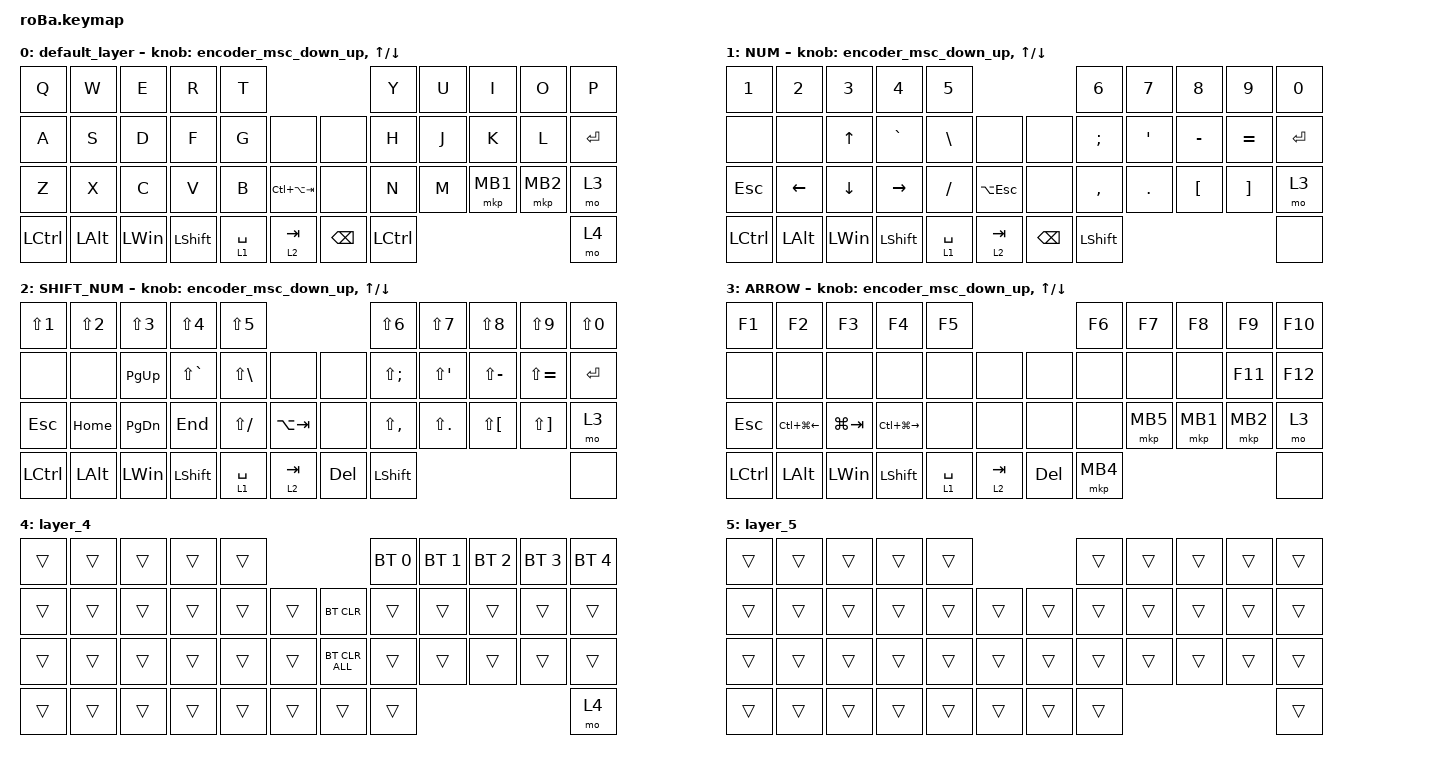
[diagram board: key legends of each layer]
#include <behaviors.dtsi>
#include <dt-bindings/zmk/bt.h>
#include <dt-bindings/zmk/keys.h>
#include <dt-bindings/zmk/pointing.h>

#define ZMK_POINTING_DEFAULT_SCRL_VAL 80

&mt {
    flavor = "balanced";
    quick-tap-ms = <0>;
};

&trackball { scroll-layers = <3>; };

/ {
    combos { compatible = "zmk,combos"; };

    behaviors {
        encoder_msc_down_up: encoder_msc_down_up {
            compatible = "zmk,behavior-sensor-rotate";
            label = "ENCODER_MSC_DOWN_UP";
            #sensor-binding-cells = <0>;
            bindings = <&msc SCRL_DOWN>, <&msc SCRL_UP>;

            tap-ms = <20>;
        };
    };

    keymap {
        compatible = "zmk,keymap";

        default_layer {
            bindings = <
&kp Q      &kp W         &kp E         &kp R           &kp T                                            &kp Y      &kp U  &kp I     &kp O     &kp P
&kp A      &kp S         &kp D         &kp F           &kp G        &none                &none          &kp H      &kp J  &kp K     &kp L     &kp ENTER
&kp Z      &kp X         &kp C         &kp V           &kp B        &kp LC(LA(TAB))      &none          &kp N      &kp M  &mkp MB1  &mkp MB2  &mo 3
&kp LCTRL  &kp LEFT_ALT  &kp LEFT_WIN  &kp LEFT_SHIFT  &lt 1 SPACE  &lt 2 TAB            &kp BACKSPACE  &kp LCTRL                             &mo 4
            >;

            sensor-bindings =
                <&encoder_msc_down_up>,
                <&inc_dec_kp UP_ARROW DOWN_ARROW>;
        };

        NUM {
            bindings = <
&kp N1      &kp N2        &kp N3        &kp N4          &kp N5                                         &kp N6      &kp N7   &kp N8     &kp N9     &kp N0
&none       &none         &kp UP        &kp GRAVE       &kp BACKSLASH  &none            &none          &kp SEMI    &kp SQT  &kp MINUS  &kp EQUAL  &kp ENTER
&kp ESCAPE  &kp LEFT      &kp DOWN      &kp RIGHT       &kp SLASH      &kp LA(ESC)      &none          &kp COMMA   &kp DOT  &kp LBKT   &kp RBKT   &mo 3
&kp LCTRL   &kp LEFT_ALT  &kp LEFT_WIN  &kp LEFT_SHIFT  &lt 1 SPACE    &lt 2 TAB        &kp BACKSPACE  &kp LSHIFT                                 &none
            >;

            sensor-bindings =
                <&encoder_msc_down_up>,
                <&inc_dec_kp UP_ARROW DOWN_ARROW>;
        };

        SHIFT_NUM {
            bindings = <
&kp LS(N1)  &kp LS(N2)    &kp LS(N3)     &kp LS(N4)      &kp LS(N5)                                   &kp LS(N6)     &kp LS(N7)   &kp LS(N8)     &kp LS(N9)     &kp LS(N0)
&none       &none         &kp PAGE_UP    &kp LS(GRAVE)   &kp LS(BACKSLASH)  &none            &none    &kp LS(SEMI)   &kp LS(SQT)  &kp LS(MINUS)  &kp LS(EQUAL)  &kp ENTER
&kp ESC     &kp HOME      &kp PAGE_DOWN  &kp END         &kp LS(SLASH)      &kp LA(TAB)      &none    &kp LS(COMMA)  &kp LS(DOT)  &kp LS(LBKT)   &kp LS(RBKT)   &mo 3
&kp LCTRL   &kp LEFT_ALT  &kp LEFT_WIN   &kp LEFT_SHIFT  &lt 1 SPACE        &lt 2 TAB        &kp DEL  &kp LSHIFT                                                &none
            >;

            sensor-bindings =
                <&encoder_msc_down_up>,
                <&inc_dec_kp UP_ARROW DOWN_ARROW>;
        };

        ARROW {
            bindings = <
&kp F1     &kp F2                  &kp F3        &kp F4                   &kp F5                               &kp F6    &kp F7    &kp F8    &kp F9    &kp F10
&none      &none                   &none         &none                    &none        &none          &none    &none     &none     &none     &kp F11   &kp F12
&kp ESC    &kp LC(LG(LEFT_ARROW))  &kp LG(TAB)   &kp LC(LG(RIGHT_ARROW))  &none        &none          &none    &none     &mkp MB5  &mkp MB1  &mkp MB2  &mo 3
&kp LCTRL  &kp LEFT_ALT            &kp LEFT_WIN  &kp LEFT_SHIFT           &lt 1 SPACE  &lt 2 TAB      &kp DEL  &mkp MB4                                &none
            >;

            sensor-bindings =
                <&encoder_msc_down_up>,
                <&inc_dec_kp UP_ARROW DOWN_ARROW>;
        };

        layer_4 {
            bindings = <
&trans  &trans  &trans  &trans  &trans                              &bt BT_SEL 0  &bt BT_SEL 1  &bt BT_SEL 2  &bt BT_SEL 3  &bt BT_SEL 4
&trans  &trans  &trans  &trans  &trans  &trans      &bt BT_CLR      &trans        &trans        &trans        &trans        &trans
&trans  &trans  &trans  &trans  &trans  &trans      &bt BT_CLR_ALL  &trans        &trans        &trans        &trans        &trans
&trans  &trans  &trans  &trans  &trans  &trans      &trans          &trans                                                  &mo 4
            >;
        };

        layer_5 {
            bindings = <
&trans  &trans  &trans  &trans  &trans                      &trans  &trans  &trans  &trans  &trans
&trans  &trans  &trans  &trans  &trans  &trans      &trans  &trans  &trans  &trans  &trans  &trans
&trans  &trans  &trans  &trans  &trans  &trans      &trans  &trans  &trans  &trans  &trans  &trans
&trans  &trans  &trans  &trans  &trans  &trans      &trans  &trans                          &trans
            >;
        };
    };
};
